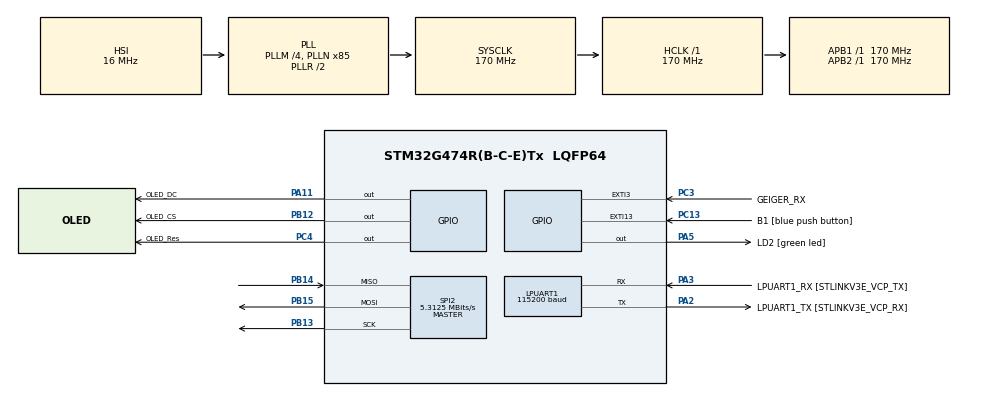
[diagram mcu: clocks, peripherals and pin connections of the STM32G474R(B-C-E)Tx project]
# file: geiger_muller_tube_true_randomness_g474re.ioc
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LPUART1.BaudRate=115200
LPUART1.WordLength=UART_WORDLENGTH_8B
Mcu.Family=STM32G4
Mcu.Name=STM32G474R(B-C-E)Tx
Mcu.Package=LQFP64
NVIC.EXTI3_IRQn=true\:0\:0\:false\:false\:true\:true\:true\:true
NVIC.PriorityGroup=NVIC_PRIORITYGROUP_4
PA11.GPIO_Label=OLED_DC
PA11.Signal=GPIO_Output
PA13.GPIO_Label=T_SWDIO
PA13.Mode=Serial_Wire
PA13.Signal=SYS_JTMS-SWDIO
PA14.GPIO_Label=T_SWCLK
PA14.Mode=Serial_Wire
PA14.Signal=SYS_JTCK-SWCLK
PA2.GPIO_Label=LPUART1_TX [STLINKV3E_VCP_RX]
PA2.Mode=Asynchronous
PA2.Signal=LPUART1_TX
PA3.GPIO_Label=LPUART1_RX [STLINKV3E_VCP_TX]
PA3.Mode=Asynchronous
PA3.Signal=LPUART1_RX
PA5.GPIO_Label=LD2 [green led]
PA5.Signal=GPIO_Output
PB12.GPIO_Label=OLED_CS
PB12.Signal=GPIO_Output
PB13.Mode=Full_Duplex_Master
PB13.Signal=SPI2_SCK
PB14.Mode=Full_Duplex_Master
PB14.Signal=SPI2_MISO
PB15.Mode=Full_Duplex_Master
PB15.Signal=SPI2_MOSI
PB3.GPIO_Label=T_SWO
PB3.Signal=SYS_JTDO-SWO
PC13.GPIO_Label=B1 [blue push button]
PC13.Signal=GPXTI13
PC14-OSC32_IN.Mode=LSE-External-Oscillator
PC14-OSC32_IN.Signal=RCC_OSC32_IN
PC15-OSC32_OUT.Mode=LSE-External-Oscillator
PC15-OSC32_OUT.Signal=RCC_OSC32_OUT
PC3.GPIO_Label=GEIGER_RX
PC3.GPIO_ModeDefaultEXTI=GPIO_MODE_IT_FALLING
PC3.Signal=GPXTI3
PC4.GPIO_Label=OLED_Res
PC4.Signal=GPIO_Output
PF0-OSC_IN.Mode=HSE-External-Oscillator
PF0-OSC_IN.Signal=RCC_OSC_IN
PF1-OSC_OUT.Mode=HSE-External-Oscillator
PF1-OSC_OUT.Signal=RCC_OSC_OUT
ProjectManager.HeapSize=0x200
ProjectManager.StackSize=0x400
ProjectManager.TargetToolchain=STM32CubeIDE
RCC.ADC12Freq_Value=170000000
RCC.ADC345Freq_Value=170000000
RCC.AHBFreq_Value=170000000
RCC.APB1Freq_Value=170000000
RCC.APB1TimFreq_Value=170000000
RCC.APB2Freq_Value=170000000
RCC.APB2TimFreq_Value=170000000
RCC.CortexFreq_Value=170000000
RCC.EXTERNAL_CLOCK_VALUE=12288000
RCC.HCLKFreq_Value=170000000
RCC.HSE_VALUE=24000000
RCC.HSI48_VALUE=48000000
RCC.HSI_VALUE=16000000
RCC.PLLM=RCC_PLLM_DIV4
RCC.PLLN=85
RCC.RTCClockSelection=RCC_RTCCLKSOURCE_LSE
RCC.SYSCLKFreq_VALUE=170000000
RCC.SYSCLKSource=RCC_SYSCLKSOURCE_PLLCLK
RCC.USBFreq_Value=170000000
RCC.VCOOutputFreq_Value=340000000
SPI2.BaudRatePrescaler=SPI_BAUDRATEPRESCALER_32
SPI2.CalculateBaudRate=5.3125 MBits/s
SPI2.DataSize=SPI_DATASIZE_8BIT
SPI2.Direction=SPI_DIRECTION_2LINES
SPI2.Mode=SPI_MODE_MASTER
SPI2.VirtualType=VM_MASTER
VP_SYS_VS_DBSignals.Mode=DisableDeadBatterySignals
board=NUCLEO-G474RE

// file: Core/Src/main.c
/* USER CODE BEGIN Header */
/**
 ******************************************************************************
 * @file           : main.c
 * @brief          : Main program body
 ******************************************************************************
 * @attention
 *
 * Copyright (c) 2023 STMicroelectronics.
 * All rights reserved.
 *
 * This software is licensed under terms that can be found in the LICENSE file
 * in the root directory of this software component.
 * If no LICENSE file comes with this software, it is provided AS-IS.
 *
 ******************************************************************************
 */
/* USER CODE END Header */
#include "main.h"
#include "usart.h"
#include "spi.h"
#include "gpio.h"

/* USER CODE BEGIN Includes */
#include <stdio.h>
#include "ssd1306.h"
/* USER CODE END Includes */

/* USER CODE BEGIN PD */

#define DETECTION_EVENT_DEADTIME 10  //ms

/* USER CODE END PD */

/* USER CODE BEGIN PV */
volatile uint32_t SoftTimerGeiger;

volatile uint8_t meas_id = 0;
volatile uint8_t bit_id = 0;
volatile uint32_t time_instance[4];
volatile uint8_t random_byte;
volatile uint8_t byte_ready_flag = 0;
uint32_t number_of_events = 0;

char lcd_line[32];
/* USER CODE END PV */

void SystemClock_Config(void);
/* USER CODE BEGIN PFP */
void HAL_GPIO_EXTI_Callback(uint16_t GPIO_Pin)
{

	if ((GPIO_Pin == GEIGER_RX_Pin)
			&& (HAL_GetTick() - SoftTimerGeiger > DETECTION_EVENT_DEADTIME)
			&& (byte_ready_flag == 0))
	{
		// In my case the resolution of HAL_GetTick() proved to be sufficient to pass selected tests for randomness
		// collected by NIST and described in "A Statistical Test Suite for Random and Pseudorandom Number Generators for Cryptographic Applications".
		// If the resolution of 1 ms is not sufficient in your case, go for a timer in the input capture mode.
		SoftTimerGeiger = HAL_GetTick();
		HAL_GPIO_TogglePin(LD2_GPIO_Port, LD2_Pin);
		time_instance[meas_id] = SoftTimerGeiger;
		meas_id++;
		number_of_events++;

		if (meas_id == 4)
		{
			meas_id = 0;
			if (bit_id < 8)
			{
				random_byte |= (time_instance[1] - time_instance[0]
						> time_instance[3] - time_instance[2]) << bit_id;
				bit_id++;
			}
			else
			{
				byte_ready_flag = 1;
				bit_id = 0;
			}
		}
	}

}

/* USER CODE END PFP */

int main(void)
{

	/* MCU Configuration--------------------------------------------------------*/

	/* Reset of all peripherals, Initializes the Flash interface and the Systick. */
	HAL_Init();

	/* Configure the system clock */
	SystemClock_Config();

	/* Initialize all configured peripherals */
	MX_GPIO_Init();
	MX_LPUART1_UART_Init();
	MX_SPI2_Init();
	/* USER CODE BEGIN 2 */
	SoftTimerGeiger = HAL_GetTick();

	ssd1306_Init();
	ssd1306_Fill(Black);
	ssd1306_SetCursor(17, 0);
	ssd1306_WriteString("ufnalski.edu.pl", Font_6x8, White);
	ssd1306_SetCursor(10, 11);
	ssd1306_WriteString("Geiger-Muller tube", Font_6x8, White);
	ssd1306_SetCursor(12, 22);
	ssd1306_WriteString("True/Hardware RNG", Font_6x8, White);

	ssd1306_UpdateScreen();
	/* USER CODE END 2 */

	/* Infinite loop */
	/* USER CODE BEGIN WHILE */
	while (1)
	{

		if (byte_ready_flag == 1)
		{
			for (uint8_t i = 0; i < 8; i++)
			{
				if (((random_byte >> i) & 0x01) == 0x01)
				{
					uint8_t bit1 = '1';
					HAL_UART_Transmit(&hlpuart1, &bit1, 1, 10);
				}
				else
				{
					uint8_t bit0 = '0';
					HAL_UART_Transmit(&hlpuart1, &bit0, 1, 10);
				}
			}

			ssd1306_SetCursor(0, 35);
			sprintf(lcd_line, "CPM: %lu   ",
					number_of_events * 60 * 1000 / HAL_GetTick());
			ssd1306_WriteString(lcd_line, Font_6x8, White);
			ssd1306_SetCursor(0, 45);
			sprintf(lcd_line, "Rnd byte: %d [DEC]  ", random_byte);
			ssd1306_WriteString(lcd_line, Font_6x8, White);
			ssd1306_SetCursor(0, 55);
			sprintf(lcd_line, "Bytes per min: %lu  ",
					number_of_events * 60 * 1000 / 32 / HAL_GetTick());
			ssd1306_WriteString(lcd_line, Font_6x8, White);
			ssd1306_UpdateScreen();

			meas_id = 0;
			bit_id = 0;
			random_byte = 0;
			byte_ready_flag = 0;

		}

		/* USER CODE END WHILE */

	}
}

void SystemClock_Config(void)
{
	RCC_OscInitTypeDef RCC_OscInitStruct =
	{ 0 };
	RCC_ClkInitTypeDef RCC_ClkInitStruct =
	{ 0 };

	/** Configure the main internal regulator output voltage
	 */
	HAL_PWREx_ControlVoltageScaling(PWR_REGULATOR_VOLTAGE_SCALE1_BOOST);

	/** Initializes the RCC Oscillators according to the specified parameters
	 * in the RCC_OscInitTypeDef structure.
	 */
	RCC_OscInitStruct.OscillatorType = RCC_OSCILLATORTYPE_HSI;
	RCC_OscInitStruct.HSIState = RCC_HSI_ON;
	RCC_OscInitStruct.HSICalibrationValue = RCC_HSICALIBRATION_DEFAULT;
	RCC_OscInitStruct.PLL.PLLState = RCC_PLL_ON;
	RCC_OscInitStruct.PLL.PLLSource = RCC_PLLSOURCE_HSI;
	RCC_OscInitStruct.PLL.PLLM = RCC_PLLM_DIV4;
	RCC_OscInitStruct.PLL.PLLN = 85;
	RCC_OscInitStruct.PLL.PLLP = RCC_PLLP_DIV2;
	RCC_OscInitStruct.PLL.PLLQ = RCC_PLLQ_DIV2;
	RCC_OscInitStruct.PLL.PLLR = RCC_PLLR_DIV2;
	if (HAL_RCC_OscConfig(&RCC_OscInitStruct) != HAL_OK)
	{
		Error_Handler();
	}

	/** Initializes the CPU, AHB and APB buses clocks
	 */
	RCC_ClkInitStruct.ClockType = RCC_CLOCKTYPE_HCLK | RCC_CLOCKTYPE_SYSCLK
			| RCC_CLOCKTYPE_PCLK1 | RCC_CLOCKTYPE_PCLK2;
	RCC_ClkInitStruct.SYSCLKSource = RCC_SYSCLKSOURCE_PLLCLK;
	RCC_ClkInitStruct.AHBCLKDivider = RCC_SYSCLK_DIV1;
	RCC_ClkInitStruct.APB1CLKDivider = RCC_HCLK_DIV1;
	RCC_ClkInitStruct.APB2CLKDivider = RCC_HCLK_DIV1;

	if (HAL_RCC_ClockConfig(&RCC_ClkInitStruct, FLASH_LATENCY_4) != HAL_OK)
	{
		Error_Handler();
	}
}

void Error_Handler(void)
{
	__disable_irq();
	while (1)
	{
	}
}
